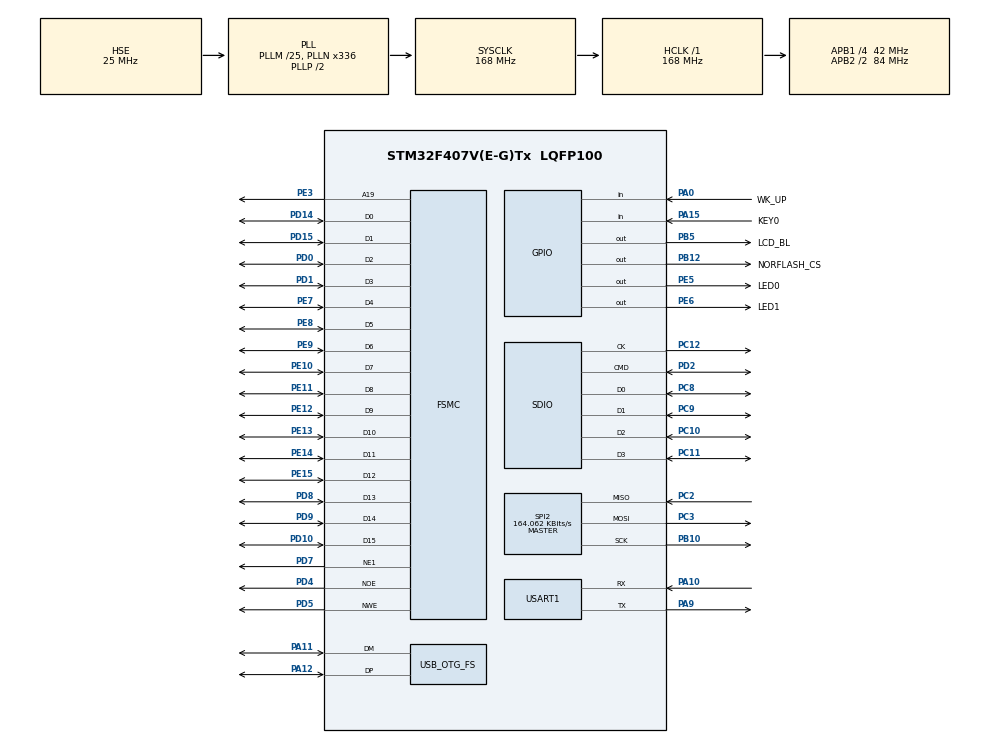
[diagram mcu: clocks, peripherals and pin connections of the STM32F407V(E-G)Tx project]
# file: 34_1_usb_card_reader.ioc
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FSMC.AddressSetupTime1=15
FSMC.BusTurnAroundDuration1=0
FSMC.DataSetupTime1=60
FSMC.ExtendedAddressSetupTime1=9
FSMC.ExtendedDataSetupTime1=9
FSMC.ExtendedMode1=FSMC_EXTENDED_MODE_ENABLE
Mcu.Family=STM32F4
Mcu.Name=STM32F407V(E-G)Tx
Mcu.Package=LQFP100
NVIC.OTG_FS_IRQn=true\:2\:1\:true\:false\:true\:false\:true\:true
NVIC.PriorityGroup=NVIC_PRIORITYGROUP_2
NVIC.TIM4_IRQn=true\:2\:1\:true\:false\:true\:true\:true\:true
NVIC.USART1_IRQn=true\:2\:2\:true\:false\:true\:true\:true\:true
PA0-WKUP.GPIO_Label=WK_UP
PA0-WKUP.GPIO_PuPd=GPIO_PULLDOWN
PA0-WKUP.Signal=GPIO_Input
PA10.Mode=Asynchronous
PA10.Signal=USART1_RX
PA11.Mode=Device_Only
PA11.Signal=USB_OTG_FS_DM
PA12.Mode=Device_Only
PA12.Signal=USB_OTG_FS_DP
PA13.Mode=Serial_Wire
PA13.Signal=SYS_JTMS-SWDIO
PA14.Mode=Serial_Wire
PA14.Signal=SYS_JTCK-SWCLK
PA15.GPIO_Label=KEY0
PA15.GPIO_PuPd=GPIO_PULLDOWN
PA15.Signal=GPIO_Input
PA9.Mode=Asynchronous
PA9.Signal=USART1_TX
PB10.Mode=Full_Duplex_Master
PB10.Signal=SPI2_SCK
PB12.GPIO_Label=NORFLASH_CS
PB12.GPIO_PuPd=GPIO_PULLUP
PB12.GPIO_Speed=GPIO_SPEED_FREQ_HIGH
PB12.PinState=GPIO_PIN_SET
PB12.Signal=GPIO_Output
PB5.GPIO_Label=LCD_BL
PB5.GPIO_PuPd=GPIO_PULLUP
PB5.GPIO_Speed=GPIO_SPEED_FREQ_HIGH
PB5.PinState=GPIO_PIN_SET
PB5.Signal=GPIO_Output
PC10.Mode=SD_4_bits_Wide_bus
PC10.Signal=SDIO_D2
PC11.Mode=SD_4_bits_Wide_bus
PC11.Signal=SDIO_D3
PC12.Mode=SD_4_bits_Wide_bus
PC12.Signal=SDIO_CK
PC14-OSC32_IN.Mode=LSE-External-Oscillator
PC14-OSC32_IN.Signal=RCC_OSC32_IN
PC15-OSC32_OUT.Mode=LSE-External-Oscillator
PC15-OSC32_OUT.Signal=RCC_OSC32_OUT
PC2.Mode=Full_Duplex_Master
PC2.Signal=SPI2_MISO
PC3.Mode=Full_Duplex_Master
PC3.Signal=SPI2_MOSI
PC8.Mode=SD_4_bits_Wide_bus
PC8.Signal=SDIO_D0
PC9.Mode=SD_4_bits_Wide_bus
PC9.Signal=SDIO_D1
PD0.Mode=16b-d1
PD0.Signal=FSMC_D2
PD1.Mode=16b-d1
PD1.Signal=FSMC_D3
PD10.Mode=16b-d1
PD10.Signal=FSMC_D15
PD14.Mode=16b-d1
PD14.Signal=FSMC_D0
PD15.Mode=16b-d1
PD15.Signal=FSMC_D1
PD2.Mode=SD_4_bits_Wide_bus
PD2.Signal=SDIO_CMD
PD4.Mode=Lcd1
PD4.Signal=FSMC_NOE
PD5.Mode=Lcd1
PD5.Signal=FSMC_NWE
PD7.Mode=NorPsramChipSelect1_1
PD7.Signal=FSMC_NE1
PD8.Mode=16b-d1
PD8.Signal=FSMC_D13
PD9.Mode=16b-d1
PD9.Signal=FSMC_D14
PE10.Mode=16b-d1
PE10.Signal=FSMC_D7
PE11.Mode=16b-d1
PE11.Signal=FSMC_D8
PE12.Mode=16b-d1
PE12.Signal=FSMC_D9
PE13.Mode=16b-d1
PE13.Signal=FSMC_D10
PE14.Mode=16b-d1
PE14.Signal=FSMC_D11
PE15.Mode=16b-d1
PE15.Signal=FSMC_D12
PE3.Mode=A19_1
PE3.Signal=FSMC_A19
PE5.GPIO_Label=LED0
PE5.GPIO_PuPd=GPIO_PULLUP
PE5.GPIO_Speed=GPIO_SPEED_FREQ_HIGH
PE5.PinState=GPIO_PIN_SET
PE5.Signal=GPIO_Output
PE6.GPIO_Label=LED1
PE6.GPIO_PuPd=GPIO_PULLUP
PE6.GPIO_Speed=GPIO_SPEED_FREQ_HIGH
PE6.PinState=GPIO_PIN_SET
PE6.Signal=GPIO_Output
PE7.Mode=16b-d1
PE7.Signal=FSMC_D4
PE8.Mode=16b-d1
PE8.Signal=FSMC_D5
PE9.Mode=16b-d1
PE9.Signal=FSMC_D6
PH0-OSC_IN.Mode=HSE-External-Oscillator
PH0-OSC_IN.Signal=RCC_OSC_IN
PH1-OSC_OUT.Mode=HSE-External-Oscillator
PH1-OSC_OUT.Signal=RCC_OSC_OUT
ProjectManager.HeapSize=0x200
ProjectManager.StackSize=0x400
ProjectManager.TargetToolchain=STM32CubeIDE
RCC.48MHZClocksFreq_Value=48000000
RCC.AHBFreq_Value=168000000
RCC.APB1CLKDivider=RCC_HCLK_DIV4
RCC.APB1Freq_Value=42000000
RCC.APB1TimFreq_Value=84000000
RCC.APB2CLKDivider=RCC_HCLK_DIV2
RCC.APB2Freq_Value=84000000
RCC.APB2TimFreq_Value=168000000
RCC.CortexFreq_Value=168000000
RCC.HCLKFreq_Value=168000000
RCC.HSE_VALUE=25000000
RCC.HSI_VALUE=16000000
RCC.PLLM=25
RCC.PLLN=336
RCC.PLLQ=7
RCC.SYSCLKFreq_VALUE=168000000
RCC.SYSCLKSource=RCC_SYSCLKSOURCE_PLLCLK
RCC.VCOOutputFreq_Value=336000000
SDIO.ClockDiv=0x06
SDIO.HardwareFlowControl=SDIO_HARDWARE_FLOW_CONTROL_ENABLE
SPI2.BaudRatePrescaler=SPI_BAUDRATEPRESCALER_256
SPI2.CLKPhase=SPI_PHASE_2EDGE
SPI2.CLKPolarity=SPI_POLARITY_HIGH
SPI2.CalculateBaudRate=164.062 KBits/s
SPI2.Direction=SPI_DIRECTION_2LINES
SPI2.Mode=SPI_MODE_MASTER
SPI2.VirtualType=VM_MASTER
TIM4.AutoReloadPreload=TIM_AUTORELOAD_PRELOAD_ENABLE
TIM4.Period=1000
TIM4.Prescaler=8400-1
USART1.VirtualMode=VM_ASYNC
USB_DEVICE.CLASS_NAME_FS=MSC
USB_DEVICE.MSC_MEDIA_PACKET-MSC_FS=2048
USB_DEVICE.VirtualMode-MSC_FS=Msc
USB_DEVICE.VirtualModeFS=Msc_FS
USB_OTG_FS.VirtualMode=Device_Only
VP_TIM4_VS_ClockSourceINT.Mode=Internal
VP_USB_DEVICE_VS_USB_DEVICE_MSC_FS.Mode=MSC_FS
board=custom

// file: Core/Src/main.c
/**
 ****************************************************************************************************
 * @file        main.c
 * @author      ALIENTEK
 * @brief       usb_card_reader code
 * @license     Copyright (C) 2012-2024, ALIENTEK
 ****************************************************************************************************
 * @attention
 *
 * platform     : ALIENTEK M100-STM32F407 board
 * website      : www.alientek.com
 * forum        : www.openedv.com/forum.php
 *
 * change logs  :
 * version      data         notes
 * V1.0         20240409     the first version
 *
 ****************************************************************************************************
 */

 /* USER CODE BEGIN Header */

/* USER CODE END Header */
#include "main.h"
#include "sdio.h"
#include "spi.h"
#include "tim.h"
#include "usart.h"
#include "usb_device.h"
#include "gpio.h"
#include "fsmc.h"

/* USER CODE BEGIN Includes */
#include "../../ATK_Middlewares/MALLOC/malloc.h"
#include "../../BSP/LED/led.h"
#include "../../BSP/KEY/key.h"
#include "../../BSP/LCD/lcd.h"
#include "usbd_core.h"
#include "usbd_msc.h"
#include "usbd_desc.h"
#include "usbd_storage_if.h"
#include "../../BSP/NORFLASH/norflash.h"
/* USER CODE END Includes */

/* USER CODE BEGIN PTD */
extern uint8_t g_sd_error;
extern uint8_t g_sd_sta;
extern volatile uint8_t g_usb_state_reg;    /* USB status */
extern volatile uint8_t g_device_state;     /* USB connection condition */

extern USBD_HandleTypeDef hUsbDeviceFS;
/* USER CODE END PTD */

/* USER CODE BEGIN PD */
/**
 * @brief   Displays information about the experiment
 * @param   None
 * @retval  None
 */
void stm32f407vg_show_mesg(void)
{
	/* The serial port outputs the experimental information */
	printf("\n");
	printf("********************************\r\n");
	printf("STM32F407\r\n");
	printf("USB_CARD_READER Test\r\n");
	printf("ATOM@ALIENTEK\r\n");
	printf("********************************\r\n");
	printf("\r\n");
}

/* USER CODE END PD */

void SystemClock_Config(void);

int main(void)
{
  /* USER CODE BEGIN 1 */
  uint8_t offline_cnt = 0;
  uint8_t tct = 0;
  uint8_t usb_sta;
  uint8_t device_sta;
  uint16_t id;
  /* USER CODE END 1 */

  /* MCU Configuration--------------------------------------------------------*/

  /* Reset of all peripherals, Initializes the Flash interface and the Systick. */
  HAL_Init();

  /* Configure the system clock */
  SystemClock_Config();

  /* Initialize all configured peripherals */
  MX_GPIO_Init();
  MX_USART1_UART_Init();
  MX_FSMC_Init();
  MX_TIM4_Init();
  MX_SDIO_SD_Init();
  MX_SPI2_Init();
  MX_USB_DEVICE_Init();
  /* USER CODE BEGIN 2 */
  lcd_init();                         /* Initialize LCD */
  my_mem_init(SRAMIN);                /* Initialize the internal SRAM memory pool */
  my_mem_init(SRAMCCM);               /* Initialize the CCM memory pool */
  stm32f407vg_show_mesg();

  lcd_show_string(30, 50, 200, 16, 16, "STM32", RED);
  lcd_show_string(30, 70, 200, 16, 16, "USB Card Reader TEST", RED);
  lcd_show_string(30, 90, 200, 16, 16, "ATOM@ALIENTEK", RED);

  while (g_sd_error == 1)
  {
  	 g_sd_error = 0;
  	 MX_SDIO_SD_Init();
     lcd_show_string(30, 130, 200, 16, 16, "SD Card Error!", RED);
     HAL_Delay(500);
     lcd_show_string(30, 130, 200, 16, 16, "Please Check! ", RED);
     HAL_Delay(500);
     LED1_TOGGLE();
  }

  lcd_show_string(30, 130, 200, 16, 16, "SD Card OK    ", BLUE);

  id = norflash_read_id();
  if ((id == 0) || (id == 0XFFFF))
  {
      lcd_show_string(30, 110, 200, 16, 16, "NorFlash Error!", RED);  /* Detecting NorFlash errors */
  }
  else   /* SPI FLASH normal */
  {
      lcd_show_string(30, 130, 200, 16, 16, "SPI FLASH Size:12MB", RED);
  }

  lcd_show_string(30, 150, 200, 16, 16, "USB Connecting...", RED);
  USBD_Init(&hUsbDeviceFS, &FS_Desc, 0);                                    /* 初始化USB */
  USBD_RegisterClass(&hUsbDeviceFS, USBD_MSC_CLASS);                        /* 添加�? */
  USBD_MSC_RegisterStorage(&hUsbDeviceFS, &USBD_Storage_Interface_fops_FS); /* 为MSC类添加回调函�? */
  USBD_Start(&hUsbDeviceFS);                                                /* 开启USB */
  HAL_Delay(1000);
  /* USER CODE END 2 */

  /* Infinite loop */
  /* USER CODE BEGIN WHILE */
  while (1)
  {
	  HAL_Delay(1);

	  if (usb_sta != g_usb_state_reg)   /* The state changes */
	  {
	  	  lcd_fill(30, 190, 240, 210 + 16, WHITE); /* clear display */

	  	  if (g_usb_state_reg & 0x01)   /* Writing */
	  	  {
	  	  	  LED1(0);
	  	  	  lcd_show_string(30, 190, 200, 16, 16, "USB Writing...", RED); /* USB is writing data */
	  	  }

	  	  if (g_usb_state_reg & 0x02)   /* Reading */
	  	  {
	  	  	  LED1(0);
	  	  	  lcd_show_string(30, 190, 200, 16, 16, "USB Reading...", RED); /* USB is reading data */
	  	  }

	  	  if (g_usb_state_reg & 0x04)
	  	  {
	  	  	  lcd_show_string(30, 210, 200, 16, 16, "USB Write Err ", RED); /* Prompt write error */
	  	  }
	  	  else
	  	  {
	  	  	  lcd_fill(30, 210, 240, 230 + 16, WHITE); /* clear display */
	  	  }

	  	  if (g_usb_state_reg & 0x08)
	  	  {
	  	  	  lcd_show_string(30, 230, 200, 16, 16, "USB Read  Err ", RED); /* Prompt readout error */
	  	  }
	  	  else
	  	  {
	  	  	  lcd_fill(30, 230, 240, 250 + 16, WHITE); /* clear display */
	  	  }

	  	  usb_sta = g_usb_state_reg; /* Record the final state */
	   }

	   if (device_sta != g_device_state)
	   {
	  	  if (g_device_state == 1)
	  	  {
	  	  	 lcd_show_string(30, 170, 200, 16, 16, "USB Connected    ", RED);    /* A USB connection has been established */
	  	  }
	  	  else
	  	  {
	  	  	 lcd_show_string(30, 170, 200, 16, 16, "USB DisConnected ", RED);    /* USB is unplugged */
	  	  }

	  	  device_sta = g_device_state;
	   }

	   tct++;

	   if (tct == 200)
	   {
	  	  tct = 0;
	  	  LED1(1);        /* turn off LED1 */
	  	  LED0_TOGGLE();  /* LED0 blink */

	  	  if (g_usb_state_reg & 0x10)
	  	  {
	  	  	  offline_cnt = 0;    /* When USB is connected, clear the offline counter */
	  	  	  g_device_state = 1;
	  	  }
	  	  else    /* No polling */
	  	  {
	  	  	  offline_cnt++;

	  	  	  if (offline_cnt > 10)
	  	  	  {
	  	  		  g_device_state = 0;/* If no online marker is received within 20s, the USB has been unplugged */
	  	  	  }
	  	  }

	  	  g_usb_state_reg = 0;
	   }
    /* USER CODE END WHILE */

  }
}

void SystemClock_Config(void)
{
  RCC_OscInitTypeDef RCC_OscInitStruct = {0};
  RCC_ClkInitTypeDef RCC_ClkInitStruct = {0};

  /** Configure the main internal regulator output voltage
  */
  __HAL_RCC_PWR_CLK_ENABLE();
  __HAL_PWR_VOLTAGESCALING_CONFIG(PWR_REGULATOR_VOLTAGE_SCALE1);

  /** Initializes the RCC Oscillators according to the specified parameters
  * in the RCC_OscInitTypeDef structure.
  */
  RCC_OscInitStruct.OscillatorType = RCC_OSCILLATORTYPE_HSE;
  RCC_OscInitStruct.HSEState = RCC_HSE_ON;
  RCC_OscInitStruct.PLL.PLLState = RCC_PLL_ON;
  RCC_OscInitStruct.PLL.PLLSource = RCC_PLLSOURCE_HSE;
  RCC_OscInitStruct.PLL.PLLM = 25;
  RCC_OscInitStruct.PLL.PLLN = 336;
  RCC_OscInitStruct.PLL.PLLP = RCC_PLLP_DIV2;
  RCC_OscInitStruct.PLL.PLLQ = 7;
  if (HAL_RCC_OscConfig(&RCC_OscInitStruct) != HAL_OK)
  {
    Error_Handler();
  }

  /** Initializes the CPU, AHB and APB buses clocks
  */
  RCC_ClkInitStruct.ClockType = RCC_CLOCKTYPE_HCLK|RCC_CLOCKTYPE_SYSCLK
                              |RCC_CLOCKTYPE_PCLK1|RCC_CLOCKTYPE_PCLK2;
  RCC_ClkInitStruct.SYSCLKSource = RCC_SYSCLKSOURCE_PLLCLK;
  RCC_ClkInitStruct.AHBCLKDivider = RCC_SYSCLK_DIV1;
  RCC_ClkInitStruct.APB1CLKDivider = RCC_HCLK_DIV4;
  RCC_ClkInitStruct.APB2CLKDivider = RCC_HCLK_DIV2;

  if (HAL_RCC_ClockConfig(&RCC_ClkInitStruct, FLASH_LATENCY_5) != HAL_OK)
  {
    Error_Handler();
  }
}

void Error_Handler(void)
{
  __disable_irq();
  while (1)
  {
  }
}
